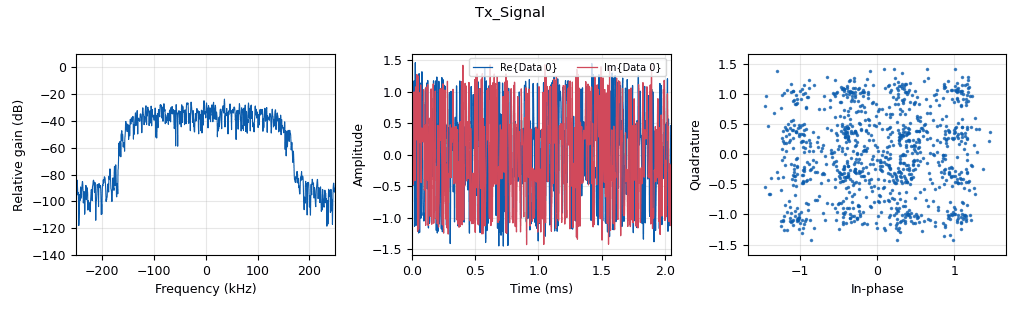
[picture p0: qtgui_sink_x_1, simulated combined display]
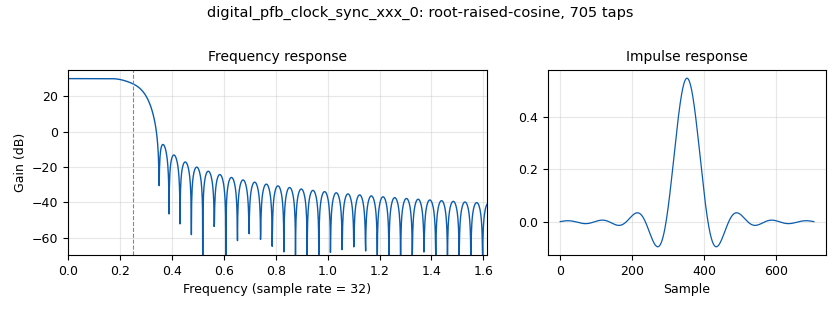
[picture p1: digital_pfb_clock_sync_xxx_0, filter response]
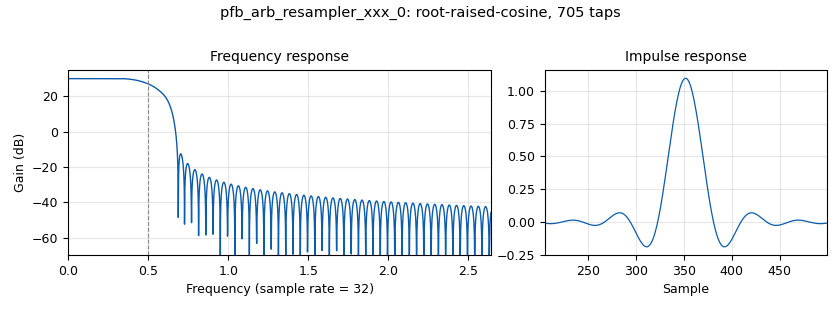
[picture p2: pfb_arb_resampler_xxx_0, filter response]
options:
  parameters:
    generate_options: qt_gui
    id: QAM16_USRP_TX_RX
    output_language: python
    title: QAM16_USRP_TX_RX
  states: {}

blocks:
- name: const
  id: variable
  parameters:
    value: digital.qam_constellation(16,True,digital.mod_codes.GRAY_CODE,False)
  states: {}
- name: d
  id: variable
  parameters:
    value: '0.707'
  states: {}
- name: eq_gain
  id: variable_qtgui_range
  parameters:
    gui_hint: 'controls@1: 1,0,1,1'
    label: 'Equalizer: rate'
    start: '0.0'
    step: '0.0001'
    stop: '0.001'
    value: '0.0001'
  states: {}
- name: excess_bw
  id: variable
  parameters:
    value: '0.35'
  states: {}
- name: freq
  id: variable
  parameters:
    value: 800e6
  states: {}
- name: freq_offset
  id: variable_qtgui_range
  parameters:
    gui_hint: 'controls@0: 1,1,1,1'
    label: Frequency Offset
    start: '-0.1'
    step: '0.001'
    stop: '0.1'
    value: '0'
  states: {}
- name: gain_rx
  id: variable_qtgui_range
  parameters:
    gui_hint: 'controls@1: 0,0,1,1'
    label: gain_rx
    start: '0'
    step: '1'
    stop: '74'
    value: '30'
  states: {}
- name: gain_tx
  id: variable_qtgui_range
  parameters:
    gui_hint: 'controls@0: 0,0,1,1'
    label: gain_tx
    start: '0'
    step: '1'
    stop: '74'
    value: '40'
  states: {}
- name: nfilts
  id: variable
  parameters:
    value: '32'
  states: {}
- name: noise_volt
  id: variable_qtgui_range
  parameters:
    gui_hint: 'controls@0: 1,0,1,1'
    label: Noise Voltage
    start: '0'
    step: '0.01'
    stop: '2'
    value: '0'
  states: {}
- name: phase_bw
  id: variable_qtgui_range
  parameters:
    gui_hint: 'controls@1: 1,1,1,1'
    label: 'Phase: Bandwidth'
    start: '0.0'
    step: '0.01'
    stop: '0.1'
    value: 6.28/200
  states: {}
- name: pld_const_16qam
  id: variable_constellation
  parameters:
    normalization: digital.constellation.NO_NORMALIZATION
    precision: '8'
    type: 16qam
  states: {}
- name: rrc_taps
  id: variable
  parameters:
    value: firdes.root_raised_cosine(nfilts, nfilts, 1.0/float(sps), excess_bw, 11*sps*nfilts)
  states: {}
- name: rrc_taps_tx
  id: variable
  parameters:
    value: firdes.root_raised_cosine(nfilts, nfilts, 1.0, excess_bw, 11*sps*nfilts)
  states: {}
- name: samp_rate
  id: variable
  parameters:
    value: 500e3
  states: {}
- name: sps
  id: variable
  parameters:
    value: '2'
  states: {}
- name: taps
  id: variable
  parameters:
    value: '[0.85,0,0,0.526]'
  states: {state: disabled}
- name: taps_0
  id: variable
  parameters:
    value: '[0.95,0,0,0,0.312]'
  states: {}
- name: timing_loop_bw
  id: variable_qtgui_range
  parameters:
    gui_hint: 'controls@1: 0,1,1,1'
    label: timing_loop_bw
    start: '0.0'
    step: '0.001'
    stop: '0.1'
    value: 6.28/200
  states: {}
- name: TFMv1_energy_scale_0
  id: TFMv1_energy_scale
  parameters:
    eav: '1'
    init_scale: '3'
    length: 3e6
  states: {}
- name: TFMv5_dispersion_probe_0_1
  id: TFMv5_dispersion_probe
  parameters:
    constellation: '2'
    length: samp_rate/2
    length_init: '0'
    th1: '0.001'
    th2: '0.003'
    th3: '0.006'
    th4: '0.01'
  states: {}
- name: analog_random_source_x_0
  id: analog_random_source_x
  parameters:
    max: '256'
    min: '0'
    num_samps: '10000000'
    repeat: 'True'
    type: byte
  states: {}
- name: blocks_char_to_float_0_0
  id: blocks_char_to_float
  parameters:
    scale: '1'
  states: {}
- name: blocks_complex_to_mag_squared_0
  id: blocks_complex_to_mag_squared
  parameters: {}
  states: {}
- name: blocks_file_sink_0
  id: blocks_file_sink
  parameters:
    file: error_16QAM
    type: float
  states: {}
- name: blocks_file_sink_0_0
  id: blocks_file_sink
  parameters:
    file: phase_16QAM
    type: float
  states: {}
- name: blocks_file_sink_0_1
  id: blocks_file_sink
  parameters:
    file: f_16QAM
    type: float
  states: {}
- name: blocks_file_sink_1
  id: blocks_file_sink
  parameters:
    file: bytes_16QAM
    type: byte
  states: {}
- name: blocks_moving_average_xx_0
  id: blocks_moving_average_xx
  parameters:
    length: '10000'
    max_iter: '4000'
    scale: '0.0001'
    type: float
  states: {}
- name: blocks_multiply_const_vxx_0
  id: blocks_multiply_const_vxx
  parameters:
    const: '0.5'
    type: complex
  states: {}
- name: blocks_packed_to_unpacked_xx_0
  id: blocks_packed_to_unpacked_xx
  parameters:
    bits_per_chunk: '4'
    endianness: gr.GR_MSB_FIRST
    type: byte
  states: {}
- name: blocks_unpack_k_bits_bb_0
  id: blocks_unpack_k_bits_bb
  parameters:
    k: '4'
  states: {}
- name: channels_channel_model_0
  id: channels_channel_model
  parameters:
    epsilon: '1'
    freq_offset: freq_offset
    noise_voltage: noise_volt
    seed: '0'
    taps: '1'
  states: {}
- name: controls
  id: qtgui_tab_widget
  parameters:
    gui_hint: 0,0,1,2
    label0: TX
    label1: RX
    num_tabs: '2'
  states: {}
- name: digital_chunks_to_symbols_xx_0
  id: digital_chunks_to_symbols_xx
  parameters:
    dimension: '1'
    in_type: byte
    out_type: complex
    symbol_table: pld_const_16qam.points()
  states: {}
- name: digital_cma_equalizer_cc_0
  id: digital_cma_equalizer_cc
  parameters:
    modulus: '1.4'
    mu: '0.0002'
    num_taps: '15'
    sps: '2'
  states: {state: disabled}
- name: digital_constellation_decoder_cb_0
  id: digital_constellation_decoder_cb
  parameters:
    constellation: digital.qam_constellation(16,True,digital.mod_codes.GRAY_CODE,False).base()
  states: {}
- name: digital_constellation_receiver_cb_0
  id: digital_constellation_receiver_cb
  parameters:
    constellation: pld_const_16qam
    fmax: '0.5'
    fmin: '-0.5'
    loop_bw: phase_bw
    showports: 'True'
  states: {}
- name: digital_costas_loop_cc_0_0_0
  id: digital_costas_loop_cc
  parameters:
    order: '4'
    w: 6.28/800
  states: {state: disabled}
- name: digital_diff_decoder_bb_0_0
  id: digital_diff_decoder_bb
  parameters:
    coding: digital.DIFF_DIFFERENTIAL
    modulus: '16'
  states: {}
- name: digital_diff_encoder_bb_0
  id: digital_diff_encoder_bb
  parameters:
    coding: digital.DIFF_DIFFERENTIAL
    modulus: '16'
  states: {}
- name: digital_lms_dd_equalizer_cc_2_0_0_0
  id: digital_lms_dd_equalizer_cc
  parameters:
    cnst: pld_const_16qam
    mu: '100e-9'
    num_taps: '15'
    sps: '2'
  states: {}
- name: digital_pfb_clock_sync_xxx_0
  id: digital_pfb_clock_sync_xxx
  parameters:
    filter_size: nfilts
    init_phase: nfilts/2
    loop_bw: timing_loop_bw
    max_dev: '1.5'
    osps: '2'
    sps: sps
    taps: rrc_taps
    type: ccf
  states: {}
- name: pfb_arb_resampler_xxx_0
  id: pfb_arb_resampler_xxx
  parameters:
    atten: '100'
    nfilts: nfilts
    rrate: sps
    taps: rrc_taps_tx
    type: ccf
  states: {}
- name: qtgui_const_sink_x_0
  id: qtgui_const_sink_x
  parameters:
    grid: 'True'
    gui_hint: 2,0,1,1
    label1: Rx_Constellation
    name: '"RX_Constellation"'
    size: '1024'
    type: complex
  states: {}
- name: qtgui_number_sink_0
  id: qtgui_number_sink
  parameters:
    graph_type: qtgui.NUM_GRAPH_HORIZ
    type: float
  states: {}
- name: qtgui_sink_x_1
  id: qtgui_sink_x
  parameters:
    bw: samp_rate
    fc: '0'
    fftsize: '1024'
    gui_hint: 1,0,1,1
    name: '"Tx_Signal"'
    showports: 'True'
    type: complex
  states: {}
- name: qtgui_sink_x_1_0
  id: qtgui_sink_x
  parameters:
    bw: samp_rate
    fc: '0'
    fftsize: '1024'
    gui_hint: 1,1,1,1
    name: '"Rx_Signal"'
    showports: 'True'
    type: complex
  states: {}
- name: qtgui_time_sink_x_0
  id: qtgui_time_sink_x
  parameters:
    grid: 'True'
    gui_hint: 2,1,1,1
    label1: RX
    name: '"RX_Bits"'
    size: '512'
    srate: samp_rate
    type: float
    ymax: '1.5'
    ymin: '-0.5'
  states: {}
- name: uhd_usrp_sink_0
  id: uhd_usrp_sink
  parameters:
    ant0: '"TX/RX"'
    center_freq0: freq
    clock_rate: '0.0'
    dev_addr: '"serial=30F9A69"'
    dev_args: '""'
    gain0: gain_tx
    len_tag_name: ''
    samp_rate: samp_rate
    sync: sync
    type: fc32
  states: {}
- name: uhd_usrp_source_0
  id: uhd_usrp_source
  parameters:
    ant0: TX/RX
    center_freq0: freq
    clock_rate: '0.0'
    dc_offs_enb0: disabled
    dev_addr: '"serial=30F9A6B"'
    dev_args: '""'
    gain0: gain_rx
    iq_imbal_enb0: disabled
    samp_rate: samp_rate
    sync: none
    type: fc32
  states: {}
- name: virtual_sink_0
  id: virtual_sink
  parameters:
    stream_id: Symbols_tx
  states: {}
- name: virtual_sink_1
  id: virtual_sink
  parameters:
    stream_id: Symbols_rx
  states: {}
- name: virtual_source_0
  id: virtual_source
  parameters:
    stream_id: Symbols_tx
  states: {}
- name: virtual_source_1
  id: virtual_source
  parameters:
    stream_id: Symbols_rx
  states: {}

connections:
- [TFMv1_energy_scale_0, '0', digital_pfb_clock_sync_xxx_0, '0']
- [analog_random_source_x_0, '0', blocks_packed_to_unpacked_xx_0, '0']
- [blocks_char_to_float_0_0, '0', qtgui_time_sink_x_0, '0']
- [blocks_complex_to_mag_squared_0, '0', blocks_moving_average_xx_0, '0']
- [blocks_moving_average_xx_0, '0', qtgui_number_sink_0, '0']
- [blocks_multiply_const_vxx_0, '0', uhd_usrp_sink_0, '0']
- [blocks_packed_to_unpacked_xx_0, '0', digital_diff_encoder_bb_0, '0']
- [blocks_unpack_k_bits_bb_0, '0', blocks_char_to_float_0_0, '0']
- [channels_channel_model_0, '0', blocks_multiply_const_vxx_0, '0']
- [digital_chunks_to_symbols_xx_0, '0', virtual_sink_0, '0']
- [digital_cma_equalizer_cc_0, '0', virtual_sink_1, '0']
- [digital_constellation_decoder_cb_0, '0', digital_diff_decoder_bb_0_0, '0']
- [digital_constellation_receiver_cb_0, '0', blocks_file_sink_1, '0']
- [digital_constellation_receiver_cb_0, '1', blocks_file_sink_0, '0']
- [digital_constellation_receiver_cb_0, '2', blocks_file_sink_0_0, '0']
- [digital_constellation_receiver_cb_0, '3', blocks_file_sink_0_1, '0']
- [digital_constellation_receiver_cb_0, '4', TFMv5_dispersion_probe_0_1, '0']
- [digital_constellation_receiver_cb_0, '4', digital_constellation_decoder_cb_0, '0']
- [digital_constellation_receiver_cb_0, '4', digital_costas_loop_cc_0_0_0, '0']
- [digital_constellation_receiver_cb_0, '4', qtgui_const_sink_x_0, '0']
- [digital_costas_loop_cc_0_0_0, '0', digital_constellation_decoder_cb_0, '0']
- [digital_costas_loop_cc_0_0_0, '0', qtgui_const_sink_x_0, '0']
- [digital_diff_decoder_bb_0_0, '0', blocks_unpack_k_bits_bb_0, '0']
- [digital_diff_encoder_bb_0, '0', digital_chunks_to_symbols_xx_0, '0']
- [digital_lms_dd_equalizer_cc_2_0_0_0, '0', virtual_sink_1, '0']
- [digital_pfb_clock_sync_xxx_0, '0', digital_cma_equalizer_cc_0, '0']
- [digital_pfb_clock_sync_xxx_0, '0', digital_lms_dd_equalizer_cc_2_0_0_0, '0']
- [pfb_arb_resampler_xxx_0, '0', channels_channel_model_0, '0']
- [pfb_arb_resampler_xxx_0, '0', qtgui_sink_x_1, '0']
- [uhd_usrp_source_0, '0', TFMv1_energy_scale_0, '0']
- [uhd_usrp_source_0, '0', blocks_complex_to_mag_squared_0, '0']
- [uhd_usrp_source_0, '0', qtgui_sink_x_1_0, '0']
- [virtual_source_0, '0', pfb_arb_resampler_xxx_0, '0']
- [virtual_source_1, '0', digital_constellation_receiver_cb_0, '0']
- [virtual_source_1, '0', digital_costas_loop_cc_0_0_0, '0']

metadata:
  file_format: 1
  grc_version: 3.10.12.0
